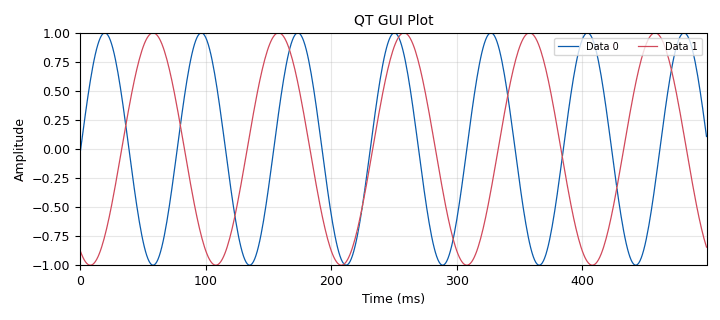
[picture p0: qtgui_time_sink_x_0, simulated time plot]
<?xml version='1.0' encoding='utf-8'?>
<flow_graph>
<block>
<key>options</key>
<param><key>id</key><value>wma_test</value></param>
<param><key>title</key><value>wma-test</value></param>
<param><key>author</key><value>Paul Miller</value></param>
<param><key>description</key><value>test wma</value></param>
<param><key>generate_options</key><value>qt_gui</value></param>
<param><key>category</key><value>Custom</value></param>
</block>
<block>
<key>variable</key>
<param><key>id</key><value>samp_rate</value></param>
<param><key>value</key><value>1000</value></param>
</block>
<block>
<key>variable</key>
<param><key>id</key><value>plot_points</value></param>
<param><key>value</key><value>int(samp_rate / 2)</value></param>
</block>
<block>
<key>variable</key>
<param><key>id</key><value>update_period</value></param>
<param><key>value</key><value>0.1 * ((samp_rate * 0.5) / plot_points)</value></param>
</block>
<block>
<key>blocks_throttle</key>
<param><key>id</key><value>blocks_throttle_0</value></param>
<param><key>type</key><value>float</value></param>
<param><key>samples_per_second</key><value>samp_rate * samp_rate</value></param>
</block>
<block>
<key>qtgui_time_sink_x</key>
<param><key>id</key><value>qtgui_time_sink_x_0</value></param>
<param><key>type</key><value>float</value></param>
<param><key>name</key><value>QT GUI Plot</value></param>
<param><key>size</key><value>plot_points</value></param>
<param><key>srate</key><value>samp_rate</value></param>
<param><key>nconnections</key><value>2</value></param>
<param><key>update_time</key><value>update_period</value></param>
<param><key>tr_mode</key><value>qtgui.TRIG_MODE_AUTO</value></param>
</block>
<block>
<key>analog_sig_source_x</key>
<param><key>id</key><value>analog_sig_source_x_0_0</value></param>
<param><key>type</key><value>float</value></param>
<param><key>samp_rate</key><value>samp_rate</value></param>
<param><key>waveform</key><value>analog.GR_COS_WAVE</value></param>
<param><key>freq</key><value>13</value></param>
<param><key>amp</key><value>1</value></param>
<param><key>offset</key><value>0</value></param>
</block>
<block>
<key>blocks_add_xx</key>
<param><key>id</key><value>blocks_add_xx_0</value></param>
<param><key>type</key><value>float</value></param>
<param><key>num_inputs</key><value>3</value></param>
</block>
<block>
<key>analog_sig_source_x</key>
<param><key>id</key><value>analog_sig_source_x_0</value></param>
<param><key>type</key><value>float</value></param>
<param><key>samp_rate</key><value>samp_rate</value></param>
<param><key>waveform</key><value>analog.GR_COS_WAVE</value></param>
<param><key>freq</key><value>10</value></param>
<param><key>amp</key><value>1</value></param>
<param><key>offset</key><value>0</value></param>
</block>
<block>
<key>analog_noise_source_x</key>
<param><key>id</key><value>analog_noise_source_x_0</value></param>
<param><key>type</key><value>float</value></param>
<param><key>noise_type</key><value>analog.GR_LAPLACIAN</value></param>
<param><key>amp</key><value>noise_amp</value></param>
<param><key>seed</key><value>0</value></param>
</block>
<block>
<key>qtgui_time_sink_x</key>
<param><key>id</key><value>qtgui_time_sink_x_0_0</value></param>
<param><key>type</key><value>float</value></param>
<param><key>name</key><value>QT GUI Plot</value></param>
<param><key>size</key><value>plot_points</value></param>
<param><key>srate</key><value>samp_rate</value></param>
<param><key>ymin</key><value>-(3+noise_amp)</value></param>
<param><key>ymax</key><value>3+noise_amp</value></param>
<param><key>nconnections</key><value>2</value></param>
<param><key>update_time</key><value>update_period</value></param>
<param><key>tr_mode</key><value>qtgui.TRIG_MODE_AUTO</value></param>
</block>
<block>
<key>wmoving</key>
<param><key>id</key><value>wmoving_0</value></param>
<param><key>type</key><value>samples</value></param>
<param><key>alpha</key><value>0.5</value></param>
<param><key>samples</key><value>samples</value></param>
</block>
<block>
<key>variable_qtgui_range</key>
<param><key>id</key><value>samples</value></param>
<param><key>value</key><value>int(samp_rate / 4)</value></param>
<param><key>start</key><value>1</value></param>
<param><key>stop</key><value>samp_rate * 100</value></param>
<param><key>step</key><value>10</value></param>
<param><key>widget</key><value>counter</value></param>
<param><key>orient</key><value>Qt.Horizontal</value></param>
</block>
<block>
<key>variable_qtgui_range</key>
<param><key>id</key><value>noise_amp</value></param>
<param><key>value</key><value>0</value></param>
<param><key>start</key><value>0</value></param>
<param><key>stop</key><value>5</value></param>
<param><key>step</key><value>0.1</value></param>
<param><key>widget</key><value>counter</value></param>
<param><key>orient</key><value>Qt.Horizontal</value></param>
</block>
<connection><source_block_id>blocks_add_xx_0</source_block_id><sink_block_id>qtgui_time_sink_x_0_0</sink_block_id><source_key>0</source_key><sink_key>0</sink_key></connection>
<connection><source_block_id>blocks_add_xx_0</source_block_id><sink_block_id>wmoving_0</sink_block_id><source_key>0</source_key><sink_key>0</sink_key></connection>
<connection><source_block_id>wmoving_0</source_block_id><sink_block_id>qtgui_time_sink_x_0_0</sink_block_id><source_key>0</source_key><sink_key>1</sink_key></connection>
<connection><source_block_id>analog_sig_source_x_0</source_block_id><sink_block_id>blocks_throttle_0</sink_block_id><source_key>0</source_key><sink_key>0</sink_key></connection>
<connection><source_block_id>blocks_throttle_0</source_block_id><sink_block_id>blocks_add_xx_0</sink_block_id><source_key>0</source_key><sink_key>0</sink_key></connection>
<connection><source_block_id>blocks_throttle_0</source_block_id><sink_block_id>qtgui_time_sink_x_0</sink_block_id><source_key>0</source_key><sink_key>1</sink_key></connection>
<connection><source_block_id>analog_sig_source_x_0_0</source_block_id><sink_block_id>qtgui_time_sink_x_0</sink_block_id><source_key>0</source_key><sink_key>0</sink_key></connection>
<connection><source_block_id>analog_noise_source_x_0</source_block_id><sink_block_id>blocks_add_xx_0</sink_block_id><source_key>0</source_key><sink_key>2</sink_key></connection>
<connection><source_block_id>analog_sig_source_x_0_0</source_block_id><sink_block_id>blocks_add_xx_0</sink_block_id><source_key>0</source_key><sink_key>1</sink_key></connection>
</flow_graph>
